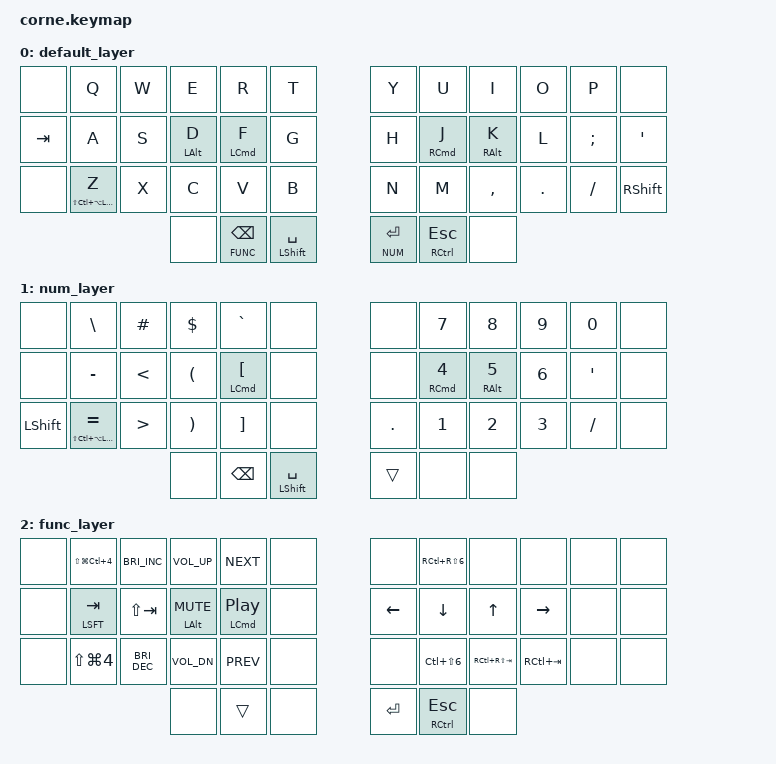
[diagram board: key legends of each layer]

  /*
  * Copyright (c) 2020 The ZMK Contributors
  *
  * SPDX-License-Identifier: MIT
  */

  #include <behaviors.dtsi>
  #include <dt-bindings/zmk/keys.h>
  #include <dt-bindings/zmk/bt.h>
  #include <dt-bindings/zmk/ext_power.h>

#define DEFAULT 0
#define NUM 1
#define FUNC 2

  &mt {
   flavor = "tap-preferred";
   tapping_term_ms = <170>;
};


  / {
    keymap {
      compatible = "zmk,keymap";
  default_layer {
          bindings = <
          &none &kp Q &kp W &kp E &kp R &kp T                       &kp Y &kp U &kp I &kp O &kp P &none
          &kp TAB &kp A &kp S &mt LALT D &mt LCMD F &kp G           &kp H &mt RCMD J &mt RALT K &kp L &kp SEMI &kp SINGLE_QUOTE 
          &none  &mt LS(LC(LA(LCMD))) Z &kp X &kp C &kp V &kp B     &kp N &kp M &kp COMMA &kp DOT &kp SLASH &kp RIGHT_SHIFT 
          &none &lt FUNC BACKSPACE &mt LEFT_SHIFT SPACE             &lt NUM RET &mt RCTRL ESC &none
          >;
        };
        num_layer {
          bindings = <
          &none &kp BSLH  &kp HASH  &kp DOLLAR &kp GRAVE  &none                                   &none &kp N7 &kp N8 &kp N9 &kp N0 &none 
          &none &kp MINUS &kp LT &kp LPAR &mt LCMD LEFT_BRACKET &none                        &none &mt RCMD N4 &mt RALT N5 &kp N6 &kp SINGLE_QUOTE &none
          &kp LEFT_SHIFT &mt LS(LC(LA(LCMD))) EQUAL &kp GT	&kp RPAR  &kp RBKT &none               &kp DOT &kp N1 &kp N2 &kp N3 &kp SLASH &none
          &none &kp BACKSPACE &mt LEFT_SHIFT SPACE                                                     &trans &none &none
          >;
        };
        func_layer {
          bindings = <
          &none &kp LS(LG(LC(N4)))  &kp C_BRI_INC  &kp C_VOL_UP &kp C_NEXT &none                 &none &kp RC(RS(N6)) &none &none &none &none 
          &none &mt LSFT TAB &kp LS(TAB)  &mt LALT K_MUTE &mt LCMD C_PLAY_PAUSE &none            &kp LEFT &kp DOWN &kp UP &kp RIGHT &none &none 
          &none &kp LS(LG(N4)) &kp C_BRI_DEC &kp C_VOL_DN &kp C_PREV &none                       &none &kp LC(LS(N6)) &kp RC(RS(TAB)) &kp RC(TAB) &none &none
          &none &trans &none                                                                     &kp ENTER &mt RCTRL ESC &none
          >;
        };
    };
  };
  
